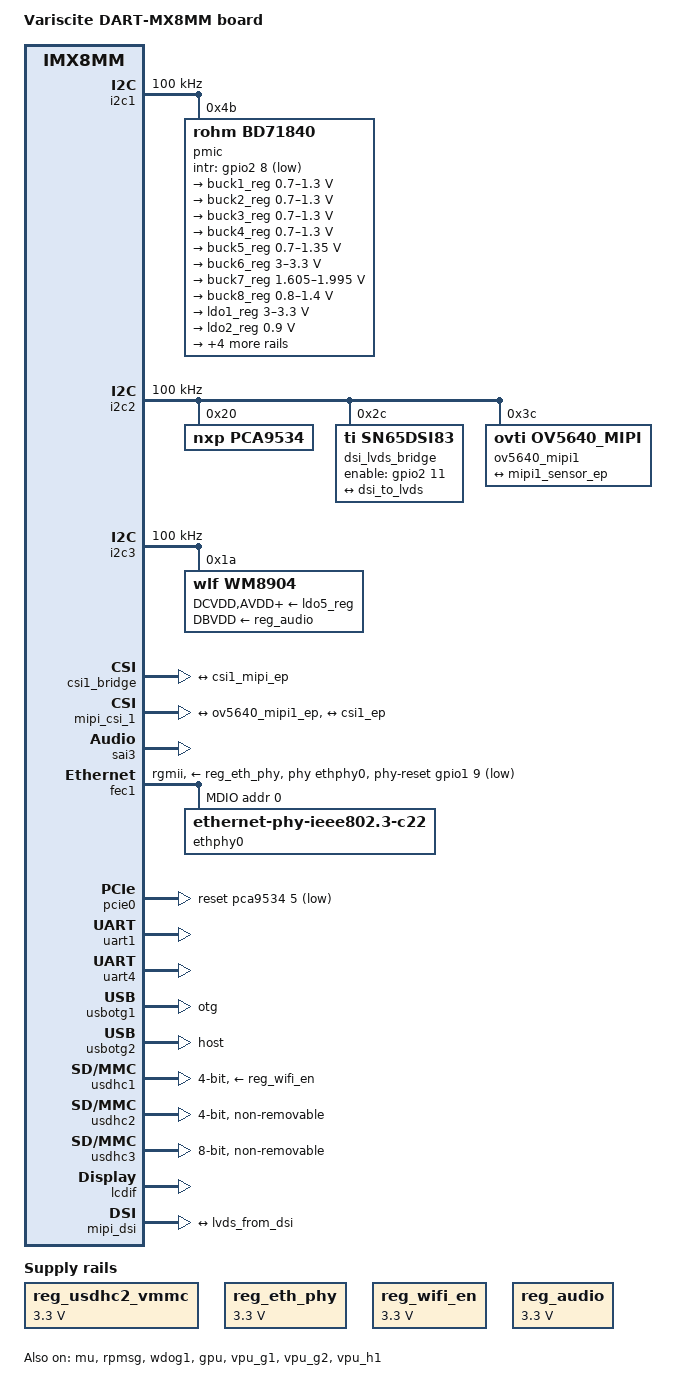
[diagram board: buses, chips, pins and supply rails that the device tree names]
/*
 * Copyright 2018 NXP
 * Copyright 2019 Variscite Ltd.
 *
 * This program is free software; you can redistribute it and/or
 * modify it under the terms of the GNU General Public License
 * as published by the Free Software Foundation; either version 2
 * of the License, or (at your option) any later version.
 *
 * This program is distributed in the hope that it will be useful,
 * but WITHOUT ANY WARRANTY; without even the implied warranty of
 * MERCHANTABILITY or FITNESS FOR A PARTICULAR PURPOSE.  See the
 * GNU General Public License for more details.
 */

/dts-v1/;

#include "fsl-imx8mm.dtsi"

/ {
	model = "Variscite DART-MX8MM board";
	compatible = "variscite,dart-mx8mm", "fsl,imx8mm";

	chosen {
		bootargs = "console=ttymxc0,115200 earlycon=ec_imx6q,0x30860000,115200";
		stdout-path = &uart1;
	};

	regulators {
		compatible = "simple-bus";
		#address-cells = <1>;
		#size-cells = <0>;

		reg_usdhc2_vmmc: regulator-usdhc2 {
			compatible = "regulator-fixed";
			regulator-name = "VSD_3V3";
			regulator-min-microvolt = <3300000>;
			regulator-max-microvolt = <3300000>;
		};

		reg_eth_phy: regulator-eth-phy {
			compatible = "regulator-fixed";
			regulator-name = "eth_phy_pwr";
			regulator-min-microvolt = <3300000>;
			regulator-max-microvolt = <3300000>;
		};

		reg_wifi_en: wifi_en {
			compatible = "regulator-fixed";
			regulator-name = "WIFI_REG_ON";
			regulator-min-microvolt = <3300000>;
			regulator-max-microvolt = <3300000>;
		};

		reg_audio: audio_vdd {
			compatible = "regulator-fixed";
			regulator-name = "wm8904_supply";
			regulator-min-microvolt = <3300000>;
			regulator-max-microvolt = <3300000>;
			regulator-always-on;
		};
	};

	reserved-memory {
		/* cma region is provided by kernel command line as cma=<size>MB */
		/delete-node/ linux,cma;
	};

	sound-spdif {
		compatible = "fsl,imx-audio-spdif";
		model = "imx-spdif";
		spdif-controller = <&spdif1>;
		spdif-out;
		spdif-in;
		status = "disabled";
	};

	sound-micfil {
		compatible = "fsl,imx-audio-micfil";
		model = "imx-audio-micfil";
		cpu-dai = <&micfil>;
		status = "disabled";
	};

	sound-wm8904 {
		compatible = "fsl,imx-audio-wm8904";
		model = "imx-wm8904";
		audio-cpu = <&sai3>;
		audio-codec = <&wm8904>;
		audio-routing =
			"Headphone Jack", "HPOUTL",
			"Headphone Jack", "HPOUTR",
			"IN2L", "Line In Jack",
			"IN2R", "Line In Jack",
			"IN1L", "Mic Jack",
			"Playback", "CPU-Playback",
			"CPU-Capture", "Capture";
		status = "okay";
	};

	gpio-keys {
		compatible = "gpio-keys";
		pinctrl-names = "default";
		pinctrl-0 = <&pinctrl_gpio_keys>;
		status = "disabled";
	
		up {
			label = "Up";
			gpios = <&gpio4 18 GPIO_ACTIVE_LOW>;
			linux,code = <KEY_UP>;
		};

		down {
			label = "Down";
			gpios = <&gpio4 15 GPIO_ACTIVE_LOW>;
			linux,code = <KEY_DOWN>;
		};

		home {
			label = "Home";
			gpios = <&gpio4 13 GPIO_ACTIVE_LOW>;
			linux,code = <KEY_HOME>;
		};

		back {
			label = "Back";
			gpios = <&gpio4 6 GPIO_ACTIVE_LOW>;
			linux,code = <KEY_BACK>;
		};
	};

	leds {
		compatible = "gpio-leds";
		pinctrl-names = "default";
		pinctrl-0 = <&pinctrl_leds>;
		status = "disabled";

		emmc {
			label = "eMMC";
			gpios = <&gpio4 17 GPIO_ACTIVE_HIGH>;
			linux,default-trigger = "mmc2";
		};
	};

};

&clk {
	assigned-clocks = <&clk IMX8MM_AUDIO_PLL1>;
	assigned-clock-rates = <786432000>;
};

&iomuxc {
	pinctrl-names = "default";
	pinctrl-0 = <&pinctrl_hog>;

	imx8mm-var-dart {
		pinctrl_hog: hoggrp {
			fsl,pins = <
				MX8MM_IOMUXC_SAI1_RXD0_GPIO4_IO2		0x19
				MX8MM_IOMUXC_SAI1_RXD4_GPIO4_IO6		0x19
				MX8MM_IOMUXC_SAI1_TXD5_GPIO4_IO17		0x19
				MX8MM_IOMUXC_SAI1_TXD0_GPIO4_IO12		0x19
				MX8MM_IOMUXC_SAI1_TXD3_GPIO4_IO15		0x19
				MX8MM_IOMUXC_SAI1_RXD7_GPIO4_IO9		0x19
				MX8MM_IOMUXC_SAI1_RXD7_GPIO4_IO9		0x19
				MX8MM_IOMUXC_SAI1_RXD5_GPIO4_IO7		0x19
				MX8MM_IOMUXC_SAI1_TXD4_GPIO4_IO16		0x19
				MX8MM_IOMUXC_SAI1_TXFS_GPIO4_IO10		0x19
				MX8MM_IOMUXC_SAI1_TXC_GPIO4_IO11		0x19
				MX8MM_IOMUXC_SAI1_RXC_GPIO4_IO1			0x19
				MX8MM_IOMUXC_SAI1_RXD2_GPIO4_IO4		0x19
				MX8MM_IOMUXC_SAI1_TXD1_GPIO4_IO13		0x19
				MX8MM_IOMUXC_SAI1_RXD3_GPIO4_IO5		0x19
				MX8MM_IOMUXC_SAI1_TXD6_GPIO4_IO18		0x19
				MX8MM_IOMUXC_SAI1_RXD1_GPIO4_IO3		0x19
				MX8MM_IOMUXC_SAI1_RXD6_GPIO4_IO8		0x19
				MX8MM_IOMUXC_SAI1_TXD7_GPIO4_IO19		0x19
				MX8MM_IOMUXC_SAI1_TXD2_GPIO4_IO14		0x19
				MX8MM_IOMUXC_SAI1_RXFS_GPIO4_IO0		0x19
				MX8MM_IOMUXC_SAI1_MCLK_GPIO4_IO20		0x19
				MX8MM_IOMUXC_GPIO1_IO02_GPIO1_IO2		0x19
				MX8MM_IOMUXC_SAI2_MCLK_GPIO4_IO27		0x19
				MX8MM_IOMUXC_SAI2_TXD0_GPIO4_IO26		0x19
				MX8MM_IOMUXC_ECSPI1_SS0_GPIO5_IO9		0x19
				MX8MM_IOMUXC_ECSPI1_MOSI_GPIO5_IO7		0x19
				MX8MM_IOMUXC_UART3_RXD_GPIO5_IO26		0x19
				MX8MM_IOMUXC_I2C4_SCL_GPIO5_IO20		0x19
				MX8MM_IOMUXC_UART2_TXD_GPIO5_IO25		0x19
				MX8MM_IOMUXC_I2C4_SDA_GPIO5_IO21		0x19
				MX8MM_IOMUXC_SAI5_MCLK_GPIO3_IO25		0x19
				MX8MM_IOMUXC_SAI5_RXD0_GPIO3_IO21		0x19
				MX8MM_IOMUXC_SAI5_RXC_GPIO3_IO20		0x19
				MX8MM_IOMUXC_SAI2_RXC_GPIO4_IO22		0x19
				MX8MM_IOMUXC_SAI2_TXC_GPIO4_IO25		0x19
				MX8MM_IOMUXC_ECSPI1_MISO_GPIO5_IO8		0x19
				MX8MM_IOMUXC_SAI2_RXFS_GPIO4_IO21		0x19
				MX8MM_IOMUXC_UART2_RXD_GPIO5_IO24		0x19
				MX8MM_IOMUXC_UART4_TXD_GPIO5_IO29		0x19
				MX8MM_IOMUXC_UART3_TXD_GPIO5_IO27		0x19
				MX8MM_IOMUXC_UART4_RXD_GPIO5_IO28		0x19
				MX8MM_IOMUXC_SAI5_RXD3_GPIO3_IO24		0x19
				MX8MM_IOMUXC_SAI5_RXFS_GPIO3_IO19		0x19
				MX8MM_IOMUXC_SAI5_RXD2_GPIO3_IO23		0x19
				MX8MM_IOMUXC_SAI5_RXD1_GPIO3_IO22		0x19
				MX8MM_IOMUXC_ECSPI1_SCLK_GPIO5_IO6		0x19
				MX8MM_IOMUXC_SPDIF_RX_GPIO5_IO4			0x19
				MX8MM_IOMUXC_GPIO1_IO10_GPIO1_IO10		0x19
				MX8MM_IOMUXC_GPIO1_IO06_GPIO1_IO6		0x19
				MX8MM_IOMUXC_GPIO1_IO15_GPIO1_IO15		0x19
				MX8MM_IOMUXC_GPIO1_IO14_GPIO1_IO14		0x19
				MX8MM_IOMUXC_SPDIF_TX_GPIO5_IO3			0x19
				MX8MM_IOMUXC_GPIO1_IO03_GPIO1_IO3		0x19
				MX8MM_IOMUXC_GPIO1_IO05_GPIO1_IO5		0x19
				MX8MM_IOMUXC_GPIO1_IO13_GPIO1_IO13		0x19
				MX8MM_IOMUXC_GPIO1_IO12_GPIO1_IO12		0x19
				MX8MM_IOMUXC_ECSPI1_SCLK_GPIO5_IO6		0x19
				MX8MM_IOMUXC_GPIO1_IO07_GPIO1_IO7		0x19
				MX8MM_IOMUXC_GPIO1_IO01_GPIO1_IO1		0x19
			>;
		};

		pinctrl_fec1: fec1grp {
			fsl,pins = <
				MX8MM_IOMUXC_ENET_MDC_ENET1_MDC			0x3
				MX8MM_IOMUXC_ENET_MDIO_ENET1_MDIO		0x3
				MX8MM_IOMUXC_ENET_TD3_ENET1_RGMII_TD3		0x1f
				MX8MM_IOMUXC_ENET_TD2_ENET1_RGMII_TD2		0x1f
				MX8MM_IOMUXC_ENET_TD1_ENET1_RGMII_TD1		0x1f
				MX8MM_IOMUXC_ENET_TD0_ENET1_RGMII_TD0		0x1f
				MX8MM_IOMUXC_ENET_RD3_ENET1_RGMII_RD3		0x91
				MX8MM_IOMUXC_ENET_RD2_ENET1_RGMII_RD2		0x91
				MX8MM_IOMUXC_ENET_RD1_ENET1_RGMII_RD1		0x91
				MX8MM_IOMUXC_ENET_RD0_ENET1_RGMII_RD0		0x91
				MX8MM_IOMUXC_ENET_TXC_ENET1_RGMII_TXC		0x1f
				MX8MM_IOMUXC_ENET_RXC_ENET1_RGMII_RXC		0x91
				MX8MM_IOMUXC_ENET_RX_CTL_ENET1_RGMII_RX_CTL	0x91
				MX8MM_IOMUXC_ENET_TX_CTL_ENET1_RGMII_TX_CTL	0x1f
				MX8MM_IOMUXC_GPIO1_IO09_GPIO1_IO9		0x19
			>;
		};

		pinctrl_flexspi0: flexspi0grp {
			fsl,pins = <
				MX8MM_IOMUXC_NAND_ALE_QSPI_A_SCLK		0x1c2
				MX8MM_IOMUXC_NAND_CE0_B_QSPI_A_SS0_B		0x82
				MX8MM_IOMUXC_NAND_DATA00_QSPI_A_DATA0		0x82
				MX8MM_IOMUXC_NAND_DATA01_QSPI_A_DATA1		0x82
				MX8MM_IOMUXC_NAND_DATA02_QSPI_A_DATA2		0x82
				MX8MM_IOMUXC_NAND_DATA03_QSPI_A_DATA3		0x82
			>;
		};

		pinctrl_i2c1: i2c1grp {
			fsl,pins = <
				MX8MM_IOMUXC_I2C1_SCL_I2C1_SCL			0x400001c3
				MX8MM_IOMUXC_I2C1_SDA_I2C1_SDA			0x400001c3
			>;
		};

		pinctrl_i2c2: i2c2grp {
			fsl,pins = <
				MX8MM_IOMUXC_I2C2_SCL_I2C2_SCL			0x400001c3
				MX8MM_IOMUXC_I2C2_SDA_I2C2_SDA			0x400001c3
			>;
		};

		pinctrl_i2c3: i2c3grp {
			fsl,pins = <
				MX8MM_IOMUXC_I2C3_SCL_I2C3_SCL			0x400001c3
				MX8MM_IOMUXC_I2C3_SDA_I2C3_SDA			0x400001c3
			>;
		};

		pinctrl_i2c4: i2c4grp {
			fsl,pins = <
				MX8MM_IOMUXC_I2C4_SCL_I2C4_SCL			0x400001c3
				MX8MM_IOMUXC_I2C4_SDA_I2C4_SDA			0x400001c3
			>;
		};

		pinctrl_pmic: pmicirq {
			fsl,pins = <
				MX8MM_IOMUXC_SD1_DATA6_GPIO2_IO8		0x41
			>;
		};

		pinctrl_sai3: sai3grp {
			fsl,pins = <
				MX8MM_IOMUXC_SAI3_RXFS_SAI3_RX_SYNC		0xd6
				MX8MM_IOMUXC_SAI3_RXC_SAI3_RX_BCLK		0xd6
				MX8MM_IOMUXC_SAI3_RXD_SAI3_RX_DATA0		0xd6
				MX8MM_IOMUXC_SAI3_TXFS_SAI3_TX_SYNC		0xd6
				MX8MM_IOMUXC_SAI3_TXC_SAI3_TX_BCLK		0xd6
				MX8MM_IOMUXC_SAI3_TXD_SAI3_TX_DATA0		0xd6
				MX8MM_IOMUXC_SAI3_MCLK_SAI3_MCLK		0xd6
			>;
		};

		pinctrl_pdm: pdmgrp {
			fsl,pins = <
				MX8MM_IOMUXC_SAI5_MCLK_SAI5_MCLK		0xd6
				MX8MM_IOMUXC_SAI5_RXC_PDM_CLK			0xd6
				MX8MM_IOMUXC_SAI5_RXFS_SAI5_RX_SYNC		0xd6
				MX8MM_IOMUXC_SAI5_RXD0_PDM_DATA0		0xd6
				MX8MM_IOMUXC_SAI5_RXD1_PDM_DATA1		0xd6
				MX8MM_IOMUXC_SAI5_RXD2_PDM_DATA2		0xd6
				MX8MM_IOMUXC_SAI5_RXD3_PDM_DATA3		0xd6
			>;
		};

		pinctrl_spdif1: spdif1grp {
			fsl,pins = <
				MX8MM_IOMUXC_SPDIF_TX_SPDIF1_OUT		0xd6
				MX8MM_IOMUXC_SPDIF_RX_SPDIF1_IN			0xd6
			>;
		};

		pinctrl_uart1: uart1grp {
			fsl,pins = <
				MX8MM_IOMUXC_UART1_RXD_UART1_DCE_RX		0x140
				MX8MM_IOMUXC_UART1_TXD_UART1_DCE_TX		0x140
			>;
		};

		pinctrl_uart2: uart2grp {
			fsl,pins = <
				MX8MM_IOMUXC_UART2_RXD_UART2_DCE_RX		0x140
				MX8MM_IOMUXC_UART2_TXD_UART2_DCE_TX		0x140
			>;
		};

		pinctrl_uart3: uart3grp {
			fsl,pins = <
				MX8MM_IOMUXC_UART3_RXD_UART3_DCE_RX		0x140
				MX8MM_IOMUXC_UART3_TXD_UART3_DCE_TX		0x140
			>;
		};

		pinctrl_uart4: uart4grp {
			fsl,pins = <
				MX8MM_IOMUXC_ECSPI2_SCLK_UART4_DCE_RX		0x140
				MX8MM_IOMUXC_ECSPI2_MOSI_UART4_DCE_TX		0x140
				MX8MM_IOMUXC_ECSPI2_SS0_UART4_DCE_RTS_B		0x140
				MX8MM_IOMUXC_ECSPI2_MISO_UART4_DCE_CTS_B	0x140
			>;
		};

		pinctrl_usdhc1: usdhc1grp {
			fsl,pins = <
				MX8MM_IOMUXC_SD1_CLK_USDHC1_CLK			0x190
				MX8MM_IOMUXC_SD1_CMD_USDHC1_CMD			0x1d0
				MX8MM_IOMUXC_SD1_DATA0_USDHC1_DATA0		0x1d0
				MX8MM_IOMUXC_SD1_DATA1_USDHC1_DATA1		0x1d0
				MX8MM_IOMUXC_SD1_DATA2_USDHC1_DATA2		0x1d0
				MX8MM_IOMUXC_SD1_DATA3_USDHC1_DATA3		0x1d0
			>;
		};

		pinctrl_usdhc1_100mhz: usdhc1grp100mhz {
			fsl,pins = <
				MX8MM_IOMUXC_SD1_CLK_USDHC1_CLK			0x194
				MX8MM_IOMUXC_SD1_CMD_USDHC1_CMD			0x1d4
				MX8MM_IOMUXC_SD1_DATA0_USDHC1_DATA0		0x1d4
				MX8MM_IOMUXC_SD1_DATA1_USDHC1_DATA1		0x1d4
				MX8MM_IOMUXC_SD1_DATA2_USDHC1_DATA2		0x1d4
				MX8MM_IOMUXC_SD1_DATA3_USDHC1_DATA3		0x1d4
			>;
		};

		pinctrl_usdhc1_200mhz: usdhc1grp200mhz {
			fsl,pins = <
				MX8MM_IOMUXC_SD1_CLK_USDHC1_CLK			0x196
				MX8MM_IOMUXC_SD1_CMD_USDHC1_CMD			0x1d6
				MX8MM_IOMUXC_SD1_DATA0_USDHC1_DATA0		0x1d6
				MX8MM_IOMUXC_SD1_DATA1_USDHC1_DATA1		0x1d6
				MX8MM_IOMUXC_SD1_DATA2_USDHC1_DATA2		0x1d6
				MX8MM_IOMUXC_SD1_DATA3_USDHC1_DATA3		0x1d6
			>;
		};

		pinctrl_usdhc2: usdhc2grp {
			fsl,pins = <
				MX8MM_IOMUXC_SD2_CLK_USDHC2_CLK			0x190
				MX8MM_IOMUXC_SD2_CMD_USDHC2_CMD			0x1d0
				MX8MM_IOMUXC_SD2_DATA0_USDHC2_DATA0		0x1d0
				MX8MM_IOMUXC_SD2_DATA1_USDHC2_DATA1		0x1d0
				MX8MM_IOMUXC_SD2_DATA2_USDHC2_DATA2		0x1d0
				MX8MM_IOMUXC_SD2_DATA3_USDHC2_DATA3		0x1d0
				MX8MM_IOMUXC_GPIO1_IO04_USDHC2_VSELECT		0x1d0
			>;
		};

		pinctrl_usdhc2_100mhz: usdhc2grp100mhz {
			fsl,pins = <
				MX8MM_IOMUXC_SD2_CLK_USDHC2_CLK			0x194
				MX8MM_IOMUXC_SD2_CMD_USDHC2_CMD			0x1d4
				MX8MM_IOMUXC_SD2_DATA0_USDHC2_DATA0		0x1d4
				MX8MM_IOMUXC_SD2_DATA1_USDHC2_DATA1		0x1d4
				MX8MM_IOMUXC_SD2_DATA2_USDHC2_DATA2		0x1d4
				MX8MM_IOMUXC_SD2_DATA3_USDHC2_DATA3		0x1d4
				MX8MM_IOMUXC_GPIO1_IO04_USDHC2_VSELECT		0x1d0
			>;
		};

		pinctrl_usdhc2_200mhz: usdhc2grp200mhz {
			fsl,pins = <
				MX8MM_IOMUXC_SD2_CLK_USDHC2_CLK			0x196
				MX8MM_IOMUXC_SD2_CMD_USDHC2_CMD			0x1d6
				MX8MM_IOMUXC_SD2_DATA0_USDHC2_DATA0		0x1d6
				MX8MM_IOMUXC_SD2_DATA1_USDHC2_DATA1		0x1d6
				MX8MM_IOMUXC_SD2_DATA2_USDHC2_DATA2		0x1d6
				MX8MM_IOMUXC_SD2_DATA3_USDHC2_DATA3		0x1d6
				MX8MM_IOMUXC_GPIO1_IO04_USDHC2_VSELECT		0x1d0
			>;
		};

		pinctrl_usdhc3: usdhc3grp {
			fsl,pins = <
				MX8MM_IOMUXC_NAND_WE_B_USDHC3_CLK		0x190
				MX8MM_IOMUXC_NAND_WP_B_USDHC3_CMD		0x1d0
				MX8MM_IOMUXC_NAND_DATA04_USDHC3_DATA0		0x1d0
				MX8MM_IOMUXC_NAND_DATA05_USDHC3_DATA1		0x1d0
				MX8MM_IOMUXC_NAND_DATA06_USDHC3_DATA2		0x1d0
				MX8MM_IOMUXC_NAND_DATA07_USDHC3_DATA3		0x1d0
				MX8MM_IOMUXC_NAND_RE_B_USDHC3_DATA4		0x1d0
				MX8MM_IOMUXC_NAND_CE2_B_USDHC3_DATA5		0x1d0
				MX8MM_IOMUXC_NAND_CE3_B_USDHC3_DATA6		0x1d0
				MX8MM_IOMUXC_NAND_CLE_USDHC3_DATA7		0x1d0
				MX8MM_IOMUXC_NAND_CE1_B_USDHC3_STROBE 		0x190
			>;
		};

		pinctrl_usdhc3_100mhz: usdhc3grp100mhz {
			fsl,pins = <
				MX8MM_IOMUXC_NAND_WE_B_USDHC3_CLK		0x194
				MX8MM_IOMUXC_NAND_WP_B_USDHC3_CMD		0x1d4
				MX8MM_IOMUXC_NAND_DATA04_USDHC3_DATA0		0x1d4
				MX8MM_IOMUXC_NAND_DATA05_USDHC3_DATA1		0x1d4
				MX8MM_IOMUXC_NAND_DATA06_USDHC3_DATA2		0x1d4
				MX8MM_IOMUXC_NAND_DATA07_USDHC3_DATA3		0x1d4
				MX8MM_IOMUXC_NAND_RE_B_USDHC3_DATA4		0x1d4
				MX8MM_IOMUXC_NAND_CE2_B_USDHC3_DATA5		0x1d4
				MX8MM_IOMUXC_NAND_CE3_B_USDHC3_DATA6		0x1d4
				MX8MM_IOMUXC_NAND_CLE_USDHC3_DATA7		0x1d4
				MX8MM_IOMUXC_NAND_CE1_B_USDHC3_STROBE 		0x194
			>;
		};

		pinctrl_usdhc3_200mhz: usdhc3grp200mhz {
			fsl,pins = <
				MX8MM_IOMUXC_NAND_WE_B_USDHC3_CLK		0x196
				MX8MM_IOMUXC_NAND_WP_B_USDHC3_CMD		0x1d6
				MX8MM_IOMUXC_NAND_DATA04_USDHC3_DATA0		0x1d6
				MX8MM_IOMUXC_NAND_DATA05_USDHC3_DATA1		0x1d6
				MX8MM_IOMUXC_NAND_DATA06_USDHC3_DATA2		0x1d6
				MX8MM_IOMUXC_NAND_DATA07_USDHC3_DATA3		0x1d6
				MX8MM_IOMUXC_NAND_RE_B_USDHC3_DATA4		0x1d6
				MX8MM_IOMUXC_NAND_CE2_B_USDHC3_DATA5		0x1d6
				MX8MM_IOMUXC_NAND_CE3_B_USDHC3_DATA6		0x1d6
				MX8MM_IOMUXC_NAND_CLE_USDHC3_DATA7		0x1d6
				MX8MM_IOMUXC_NAND_CE1_B_USDHC3_STROBE 		0x196
			>;
		};

		pinctrl_wdog: wdoggrp {
			fsl,pins = <
				MX8MM_IOMUXC_GPIO1_IO02_WDOG1_WDOG_B		0xc6
			>;
		};

		pinctrl_wifi: wifigrp {
			fsl,pins = <
				MX8MM_IOMUXC_SD1_DATA5_GPIO2_IO7		0xc1	/* WIFI_3V3_PWR_EN */
				MX8MM_IOMUXC_SD2_WP_GPIO2_IO20			0x140	/* WIFI_1V8_PWR_EN */
				MX8MM_IOMUXC_SD1_RESET_B_GPIO2_IO10		0xc1	/* WIFI_REG_ON     */
				MX8MM_IOMUXC_SD1_DATA4_GPIO2_IO6		0xc1	/* BT_REG_ON       */
				MX8MM_IOMUXC_SPDIF_EXT_CLK_GPIO5_IO5		0xc1	/* BT_BUF_EN       */
			>;
		};

		pinctrl_typec: typecgrp {
			fsl,pins = <
				MX8MM_IOMUXC_GPIO1_IO10_GPIO1_IO10		0x16
			>;
		};

		pinctrl_rtc: rtcgrp {
			fsl,pins = <
				MX8MM_IOMUXC_GPIO1_IO15_GPIO1_IO15		0x1c1
			>;
		};

		pinctrl_lvds: lvdsgrp {
			fsl,pins = <
				MX8MM_IOMUXC_SD1_STROBE_GPIO2_IO11		0x16
			>;
		};

		pinctrl_captouch: captouchgrp {
			fsl,pins = <
				MX8MM_IOMUXC_SAI1_RXD3_GPIO4_IO5		0x16
				MX8MM_IOMUXC_GPIO1_IO14_GPIO1_IO14		0x16
			>;
		};

		pinctrl_ecspi1: ecspi1grp {
			fsl,pins = <
				MX8MM_IOMUXC_ECSPI1_SCLK_ECSPI1_SCLK		0x11
				MX8MM_IOMUXC_ECSPI1_MOSI_ECSPI1_MOSI		0x11
				MX8MM_IOMUXC_ECSPI1_MISO_ECSPI1_MISO		0x11
				MX8MM_IOMUXC_ECSPI1_SS0_GPIO5_IO9		0x11
			>;
		};

		pinctrl_restouch: restouchgrp {
			fsl,pins = <
				MX8MM_IOMUXC_GPIO1_IO03_GPIO1_IO3		0x1c0
			>;
		};

		pinctrl_gpio_keys: keygrp {
			fsl,pins = <
				MX8MM_IOMUXC_SAI1_TXD3_GPIO4_IO15		0x1c6
				MX8MM_IOMUXC_SAI1_TXD6_GPIO4_IO18		0x1c6
				MX8MM_IOMUXC_SAI1_TXD1_GPIO4_IO13		0x1c6
				MX8MM_IOMUXC_SAI1_RXD4_GPIO4_IO6		0x1c6
			>;
		};

		pinctrl_leds: ledgrp {
			fsl,pins = <
				MX8MM_IOMUXC_SAI1_RXD1_GPIO4_IO3		0x1c6
				MX8MM_IOMUXC_SAI1_TXD2_GPIO4_IO14		0x1c6
				MX8MM_IOMUXC_SAI1_RXD2_GPIO4_IO4		0x1c6
				MX8MM_IOMUXC_SAI1_TXD5_GPIO4_IO17		0x1c6
			>;
		};
	};
};

&i2c1 {
	clock-frequency = <100000>;
	pinctrl-names = "default";
	pinctrl-0 = <&pinctrl_i2c1>;
	status = "okay";

	pmic: bd71837@4b {
		reg = <0x4b>;
		compatible = "rohm,bd71840", "rohm,bd71837";
		pinctrl-0 = <&pinctrl_pmic>;
		gpio_intr = <&gpio2 8 GPIO_ACTIVE_LOW>;

		gpo {
			rohm,drv = <0x0C>;	/* 0b0000_1100 all gpos with cmos output mode */
		};

		regulators {
			#address-cells = <1>;
			#size-cells = <0>;

			bd71837,pmic-buck2-uses-i2c-dvs;
			bd71837,pmic-buck2-dvs-voltage = <1000000>, <900000>, <0>; /* VDD_ARM: Run-Idle */

			buck1_reg: regulator@0 {
				reg = <0>;
				regulator-compatible = "buck1";
				regulator-min-microvolt = <700000>;
				regulator-max-microvolt = <1300000>;
				regulator-boot-on;
				regulator-always-on;
				regulator-ramp-delay = <1250>;
			};

			buck2_reg: regulator@1 {
				reg = <1>;
				regulator-compatible = "buck2";
				regulator-min-microvolt = <700000>;
				regulator-max-microvolt = <1300000>;
				regulator-boot-on;
				regulator-always-on;
				regulator-ramp-delay = <1250>;
			};

			buck3_reg: regulator@2 {
				reg = <2>;
				regulator-compatible = "buck3";
				regulator-min-microvolt = <700000>;
				regulator-max-microvolt = <1300000>;
			};

			buck4_reg: regulator@3 {
				reg = <3>;
				regulator-compatible = "buck4";
				regulator-min-microvolt = <700000>;
				regulator-max-microvolt = <1300000>;
			};

			buck5_reg: regulator@4 {
				reg = <4>;
				regulator-compatible = "buck5";
				regulator-min-microvolt = <700000>;
				regulator-max-microvolt = <1350000>;
				regulator-boot-on;
				regulator-always-on;
			};

			buck6_reg: regulator@5 {
				reg = <5>;
				regulator-compatible = "buck6";
				regulator-min-microvolt = <3000000>;
				regulator-max-microvolt = <3300000>;
				regulator-boot-on;
				regulator-always-on;
			};

			buck7_reg: regulator@6 {
				reg = <6>;
				regulator-compatible = "buck7";
				regulator-min-microvolt = <1605000>;
				regulator-max-microvolt = <1995000>;
				regulator-boot-on;
				regulator-always-on;
			};

			buck8_reg: regulator@7 {
				reg = <7>;
				regulator-compatible = "buck8";
				regulator-min-microvolt = <800000>;
				regulator-max-microvolt = <1400000>;
				regulator-boot-on;
				regulator-always-on;
			};

			ldo1_reg: regulator@8 {
				reg = <8>;
				regulator-compatible = "ldo1";
				regulator-min-microvolt = <3000000>;
				regulator-max-microvolt = <3300000>;
				regulator-boot-on;
				regulator-always-on;
			};

			ldo2_reg: regulator@9 {
				reg = <9>;
				regulator-compatible = "ldo2";
				regulator-min-microvolt = <900000>;
				regulator-max-microvolt = <900000>;
				regulator-boot-on;
				regulator-always-on;
			};

			ldo3_reg: regulator@10 {
				reg = <10>;
				regulator-compatible = "ldo3";
				regulator-min-microvolt = <1800000>;
				regulator-max-microvolt = <3300000>;
				regulator-boot-on;
				regulator-always-on;
			};

			ldo4_reg: regulator@11 {
				reg = <11>;
				regulator-compatible = "ldo4";
				regulator-min-microvolt = <900000>;
				regulator-max-microvolt = <1800000>;
				regulator-boot-on;
				regulator-always-on;
			};

			ldo5_reg: regulator@12 {
				reg = <12>;
				regulator-compatible = "ldo5";
				regulator-min-microvolt = <1800000>;
				regulator-max-microvolt = <1800000>;
				regulator-always-on;
			};

			ldo6_reg: regulator@13 {
				reg = <13>;
				regulator-compatible = "ldo6";
				regulator-min-microvolt = <900000>;
				regulator-max-microvolt = <1800000>;
				regulator-boot-on;
				regulator-always-on;
			};
		};
	};
};

&i2c2 {
	clock-frequency = <100000>;
	pinctrl-names = "default";
	pinctrl-0 = <&pinctrl_i2c2>;
	status = "okay";

        pca9534: gpio@20 {
                compatible = "nxp,pca9534";
                reg = <0x20>;
		gpio-controller;
		#gpio-cells = <2>;

	        hdmi_on_hog {
			gpio-hog;
			gpios = <0 0>;
			output-high;
                line-name = "sn65dsi83-on";
		};
        };

	dsi_lvds_bridge: sn65dsi84@2c {
		compatible = "ti,sn65dsi83";
		reg = <0x2c>;
		ti,dsi-lanes = <4>;
		ti,lvds-format = <1>;
		ti,lvds-bpp = <24>;
		ti,width-mm = <154>;
		ti,height-mm = <87>;
		enable-gpios = <&gpio2 11 GPIO_ACTIVE_HIGH>;
		pinctrl-names = "default";
		pinctrl-0 = <&pinctrl_lvds>;
		status = "okay";
	
		ti,addresses = <
			0x09 0x0A 0x0B 0x0D 0x10 0x11 0x12 0x13
			0x18 0x19 0x1A 0x1B 0x20 0x21 0x22 0x23
			0x24 0x25 0x26 0x27 0x28 0x29 0x2A 0x2B
			0x2C 0x2D 0x2E 0x2F 0x30 0x31 0x32 0x33
			0x34 0x35 0x36 0x37 0x38 0x39 0x3A 0x3B
			0x3C 0x3D 0x3E 0x0D 0x09>;
		ti,values = <
			0x00 0x05 0x30 0x00 0x26 0x00 0x27 0x00
			0x6c 0x00 0x03 0x00 0x40 0x06 0x00 0x00
			0x00 0x00 0x00 0x00 0x41 0x03 0x00 0x00
			0x64 0x00 0x00 0x00 0x03 0x00 0x00 0x00
			0x50 0x00 0x00 0x00 0x00 0x00 0x00 0x00
			0x00 0x00 0x00 0x01 0x01>;
	
		display-timings {
			lvds {
				clock-frequency = <66000000>;
				hactive = <1600>;
				vactive = <480>;
				hback-porch = <80>;
				hfront-porch = <80>;
				vback-porch = <29>;
				vfront-porch = <13>;
				hsync-len = <100>;
				vsync-len = <3>;
				hsync-active = <0>;
				vsync-active = <0>;
				de-active = <1>;
				pixelclk-active = <0>;
			};
		};
		port {
			lvds_from_dsi: endpoint {
				remote-endpoint = <&dsi_to_lvds>;
			};
		};
	};

	ov5640_mipi1: ov5640_mipi1@3c {
		status = "okay";
		compatible = "ovti,ov5640_mipi";
		reg = <0x3c>;
		clocks = <&clk IMX8MM_CLK_CLKO1_DIV>;
		clock-names = "csi_mclk";
		csi_id = <0>;
		mclk = <24000000>;
		mclk_source = <0>;
		port {
			ov5640_mipi1_ep: endpoint {
				remote-endpoint = <&mipi1_sensor_ep>;
			};
		};
	};
};


&i2c3 {
	clock-frequency = <100000>;
	pinctrl-names = "default";
	pinctrl-0 = <&pinctrl_i2c3>;
	status = "okay";

	wm8904: codec@1a {
		compatible = "wlf,wm8904";
		reg = <0x1a>;
		clocks = <&clk IMX8MM_CLK_SAI3_ROOT>;
		clock-names = "mclk";
		DCVDD-supply = <&ldo5_reg>;
		DBVDD-supply = <&reg_audio>;
		AVDD-supply = <&ldo5_reg>;
		CPVDD-supply = <&ldo5_reg>;
		MICVDD-supply = <&ldo5_reg>;
		status = "okay";
		gpio-cfg = <
			0x0018 /* GPIO1 => DMIC_CLK */
			0xffff /* GPIO2 => don't touch */
			0xffff /* GPIO3 => don't touch */
			0xffff /* GPIO4 => don't touch */
		>;
	};
};

&i2c4 {
	clock-frequency = <100000>;
	pinctrl-names = "default";
	pinctrl-0 = <&pinctrl_i2c4>;
	status = "disabled";
};

&csi1_bridge {
	fsl,mipi-mode;
	status = "okay";
	port {
		csi1_ep: endpoint {
			remote-endpoint = <&csi1_mipi_ep>;
		};
	};
};

&mipi_csi_1 {
	#address-cells = <1>;
	#size-cells = <0>;
	status = "okay";
	port {
		mipi1_sensor_ep: endpoint1 {
			remote-endpoint = <&ov5640_mipi1_ep>;
			data-lanes = <2>;
			csis-hs-settle = <13>;
			csis-clk-settle = <2>;
			csis-wclk;
		};

		csi1_mipi_ep: endpoint2 {
			remote-endpoint = <&csi1_ep>;
		};
	};
};

&mu {
	status = "okay";
};

&rpmsg{
	/*
	 * 64K for one rpmsg instance:
	 * --0xb8000000~0xb800ffff: pingpong
	 */
	vdev-nums = <1>;
	reg = <0x0 0xb8000000 0x0 0x10000>;
	status = "okay";
};

&sai3 {
	pinctrl-names = "default";
	pinctrl-0 = <&pinctrl_sai3>;
	assigned-clocks = <&clk IMX8MM_CLK_SAI3_SRC>,
			<&clk IMX8MM_CLK_SAI3_DIV>;
	assigned-clock-parents = <&clk IMX8MM_AUDIO_PLL1_OUT>;
	assigned-clock-rates = <0>, <1536000>;
	status = "okay";
};

&spdif1 {
	pinctrl-names = "default";
	pinctrl-0 = <&pinctrl_spdif1>;
	assigned-clocks = <&clk IMX8MM_CLK_SPDIF1_SRC>,
			<&clk IMX8MM_CLK_SPDIF1_DIV>;
	assigned-clock-parents = <&clk IMX8MM_AUDIO_PLL1_OUT>;
	assigned-clock-rates = <0>, <24576000>;
	clocks = <&clk IMX8MM_CLK_AUDIO_AHB_DIV>, <&clk IMX8MM_CLK_24M>,
		<&clk IMX8MM_CLK_SPDIF1_DIV>, <&clk IMX8MM_CLK_DUMMY>,
		<&clk IMX8MM_CLK_DUMMY>, <&clk IMX8MM_CLK_DUMMY>,
		<&clk IMX8MM_CLK_AUDIO_AHB_DIV>, <&clk IMX8MM_CLK_DUMMY>,
		<&clk IMX8MM_CLK_DUMMY>, <&clk IMX8MM_CLK_DUMMY>,
		<&clk IMX8MM_AUDIO_PLL1_OUT>, <&clk IMX8MM_AUDIO_PLL2_OUT>;
	clock-names = "core", "rxtx0", "rxtx1", "rxtx2", "rxtx3",
		"rxtx4", "rxtx5", "rxtx6", "rxtx7", "spba", "pll8k", "pll11k";
	status = "disabled";
};

&fec1 {
	pinctrl-names = "default";
	pinctrl-0 = <&pinctrl_fec1>;
	phy-mode = "rgmii";
	phy-handle = <&ethphy0>;
	phy-supply = <&reg_eth_phy>;
	phy-reset-gpios = <&gpio1 9 GPIO_ACTIVE_LOW>;
	phy-reset-duration = <10>;
	fsl,magic-packet;
	status = "okay";

	mdio {
		#address-cells = <1>;
		#size-cells = <0>;

		ethphy0: ethernet-phy@0 {
			compatible = "ethernet-phy-ieee802.3-c22";
			reg = <0>;
			at803x,led-act-blind-workaround;
			at803x,eee-okay;
			at803x,vddio-1p8v;
		};
	};
};

&pcie0 {
	reset-gpio = <&pca9534 5 GPIO_ACTIVE_LOW>;
	ext_osc = <1>;
	status = "okay";
};

/* Console */
&uart1 {
	pinctrl-names = "default";
	pinctrl-0 = <&pinctrl_uart1>;
	status = "okay";
};

/* Header */
&uart2 {
	pinctrl-names = "default";
	pinctrl-0 = <&pinctrl_uart2>;
		status = "disabled";
};

/* Header */
&uart3 {
	pinctrl-names = "default";
	pinctrl-0 = <&pinctrl_uart3>;
	status = "disabled";
};

/* BT */
&uart4 {
	pinctrl-names = "default";
	pinctrl-0 = <&pinctrl_uart4>;
	assigned-clocks = <&clk IMX8MM_CLK_UART4_SRC>;
	assigned-clock-parents = <&clk IMX8MM_SYS_PLL1_80M>;
	uart-has-rtscts;
	status = "okay";
};

&usbotg1 {
	dr_mode = "otg";
	picophy,pre-emp-curr-control = <3>;
	picophy,dc-vol-level-adjust = <7>;
	status = "okay";
};

&usbotg2 {
	dr_mode = "host";
	picophy,pre-emp-curr-control = <3>;
	picophy,dc-vol-level-adjust = <7>;
	status = "okay";
};

/* WIFI */
&usdhc1 {
	pinctrl-names = "default", "state_100mhz", "state_200mhz";
	pinctrl-0 = <&pinctrl_usdhc1>;
	pinctrl-1 = <&pinctrl_usdhc1_100mhz>;
	pinctrl-2 = <&pinctrl_usdhc1_200mhz>;
	bus-width = <4>;
	vmmc-supply = <&reg_wifi_en>;
	status = "okay";
};

/* SD */
&usdhc2 {
	pinctrl-names = "default", "state_100mhz", "state_200mhz";
	pinctrl-0 = <&pinctrl_usdhc2>;
	pinctrl-1 = <&pinctrl_usdhc2_100mhz>;
	pinctrl-2 = <&pinctrl_usdhc2_200mhz>;
	bus-width = <4>;
	non-removable;
	mmc-supply = <&reg_usdhc2_vmmc>;
	status = "okay";
};

/* EMMC */
&usdhc3 {
	pinctrl-names = "default", "state_100mhz", "state_200mhz";
	pinctrl-0 = <&pinctrl_usdhc3>;
	pinctrl-1 = <&pinctrl_usdhc3_100mhz>;
	pinctrl-2 = <&pinctrl_usdhc3_200mhz>;
	bus-width = <8>;
	non-removable;
	status = "okay";
};

&wdog1 {
	status = "okay";
};

&A53_0 {
	arm-supply = <&buck2_reg>;
};

&gpu {
	status = "okay";
};

&vpu_g1 {
	status = "okay";
};

&vpu_g2 {
	status = "okay";
};

&vpu_h1 {
	status = "okay";
};

&micfil {
	pinctrl-names = "default";
	pinctrl-0 = <&pinctrl_pdm>;
	assigned-clocks = <&clk IMX8MM_CLK_PDM_SRC>, <&clk IMX8MM_CLK_PDM_DIV>;
	assigned-clock-parents = <&clk IMX8MM_AUDIO_PLL1_OUT>;
	assigned-clock-rates = <0>, <196608000>;
	status = "disabled";
};

&lcdif {
	status = "okay";
};

&mipi_dsi {
	status = "okay";

	port@1 {
		dsi_to_lvds: endpoint {
			remote-endpoint = <&lvds_from_dsi>;
		};
	};
};

&ecspi1 {
	pinctrl-names = "default";
	pinctrl-0 = <&pinctrl_ecspi1>;
	cs-gpios = <&gpio5 9 0>;
	fsl,spi-num-chipselects = <1>;
	status = "disabled";

	/* Resistive touch controller */
	ads7846@0 {
		reg = <0>;
		compatible = "ti,ads7846";
		pinctrl-names = "default";
		pinctrl-0 = <&pinctrl_restouch>;
		interrupt-parent = <&gpio1>;
		interrupts = <3 IRQ_TYPE_EDGE_FALLING>;
		spi-max-frequency = <1500000>;
		pendown-gpio = <&gpio1 3 GPIO_ACTIVE_LOW>;
		ti,x-min = /bits/ 16 <125>;
		ti,x-max = /bits/ 16 <4008>;
		ti,y-min = /bits/ 16 <282>;
		ti,y-max = /bits/ 16 <3864>;
		ti,x-plate-ohms = /bits/ 16 <180>;
		ti,pressure-max = /bits/ 16 <255>;
		ti,debounce-max = /bits/ 16 <10>;
		ti,debounce-tol = /bits/ 16 <3>;
		ti,debounce-rep = /bits/ 16 <1>;
		ti,settle-delay-usec = /bits/ 16 <150>;
		ti,keep-vref-on;
		wakeup-source;
		status = "disabled";
	};
};

&flexspi {
	pinctrl-names = "default";
	pinctrl-0 = <&pinctrl_flexspi0>;
	status = "disabled";
};

&snvs_rtc {
	status = "disabled";
};

&snvs_pwrkey{
	linux,keycode = <KEY_0>;
};
